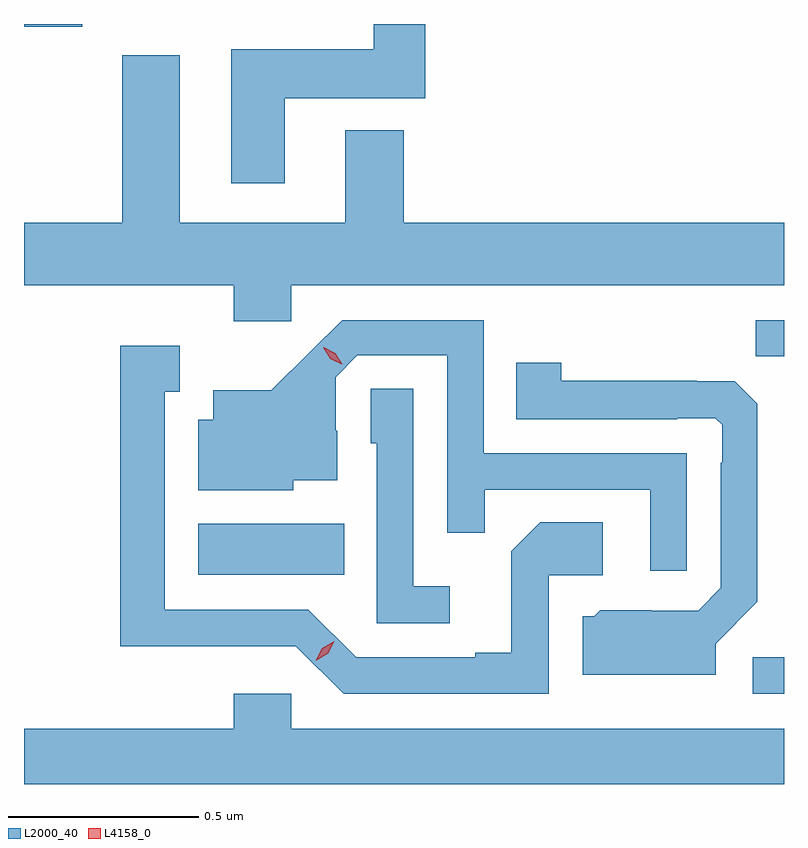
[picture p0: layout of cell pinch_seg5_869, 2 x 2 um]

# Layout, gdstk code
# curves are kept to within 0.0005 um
import gdstk
lib = gdstk.Library(unit=1e-6, precision=1e-09)
def R(c, l, rs):  # rectangles x0, y0, x1, y1
    for r in rs: c.add(gdstk.rectangle(r[:2], r[2:], *l))
def P(c, l, *ps):  # polygons
    for p in ps: c.add(gdstk.Polygon(p, *l))
L2000_40 = (2000, 40)
L4158_0 = (4158, 0)

pinch_seg5_869 = lib.new_cell('pinch_seg5_869')
R(pinch_seg5_869, L2000_40, [(796.395,888.984,796.477,889.08), (794.936,889.298,795.32,889.432), (796.402,889.873,796.477,889.968), (794.477,890.74,794.63,890.747)])
P(pinch_seg5_869, L2000_40, [(795.163,890.552),(795.533,890.552),(795.533,890.747),(795.398,890.747),(795.398,890.68),(795.023,890.68),(795.023,890.328),(795.163,890.328)],
  [(795.18,890.06),(796.477,890.06),(796.477,890.224),(795.476,890.224),(795.476,890.467),(795.323,890.467),(795.323,890.224),(794.887,890.224),(794.887,890.665),(794.735,890.665),(794.735,890.224),(794.477,890.224),(794.477,890.06),(795.029,890.06),(795.029,889.965),(795.18,889.965)],
  [(796.221,889.617),(795.687,889.617),(795.687,889.968),(795.314,889.968),(795.127,889.783),(794.975,889.783),(794.975,889.705),(794.936,889.705),(794.936,889.52),(795.186,889.52),(795.186,889.547),(795.301,889.547),(795.301,889.676),(795.297,889.676),(795.297,889.818),(795.354,889.875),(795.591,889.875),(795.591,889.408),(795.689,889.408),(795.689,889.521),(796.125,889.521),(796.125,889.308),(796.221,889.308)],
  [(795.858,889.296),(796,889.296),(796,889.436),(795.835,889.436),(795.759,889.36),(795.759,889.093),(795.665,889.093),(795.665,889.08),(795.351,889.08),(795.225,889.206),(794.848,889.206),(794.848,889.779),(794.887,889.779),(794.887,889.9),(794.73,889.9),(794.73,889.109),(794.97,889.109),(794.97,889.11),(795.192,889.11),(795.318,888.984),(795.858,888.984)],
  [(796.297,889.116),(796.407,889.226),(796.407,889.748),(796.348,889.807),(796.247,889.807),(796.247,889.808),(795.891,889.808),(795.891,889.855),(795.772,889.855),(795.772,889.707),(796.196,889.707),(796.196,889.71),(796.296,889.71),(796.314,889.692),(796.314,889.592),(796.311,889.592),(796.311,889.263),(796.251,889.203),(796.128,889.203),(796.128,889.204),(795.994,889.204),(795.978,889.188),(795.947,889.188),(795.947,889.034),(796.297,889.034)],
  [(795.598,889.267),(795.501,889.267),(795.501,889.787),(795.39,889.787),(795.39,889.644),(795.405,889.644),(795.405,889.17),(795.598,889.17)],
  [(796.477,888.892),(795.18,888.892),(795.18,888.985),(795.029,888.985),(795.029,888.892),(794.477,888.892),(794.477,888.747),(796.477,888.747)])
P(pinch_seg5_869, L4158_0, [(795.313,889.851),(795.283,889.866),(795.265,889.896),(795.265,889.896),(795.266,889.896),(795.296,889.881),(795.314,889.851),(795.314,889.851)],
  [(795.245,889.071),(795.245,889.072),(795.262,889.104),(795.294,889.123),(795.294,889.123),(795.294,889.123),(795.277,889.091),(795.245,889.071)])

lib.write_gds('pinch_seg5_869.gds')
